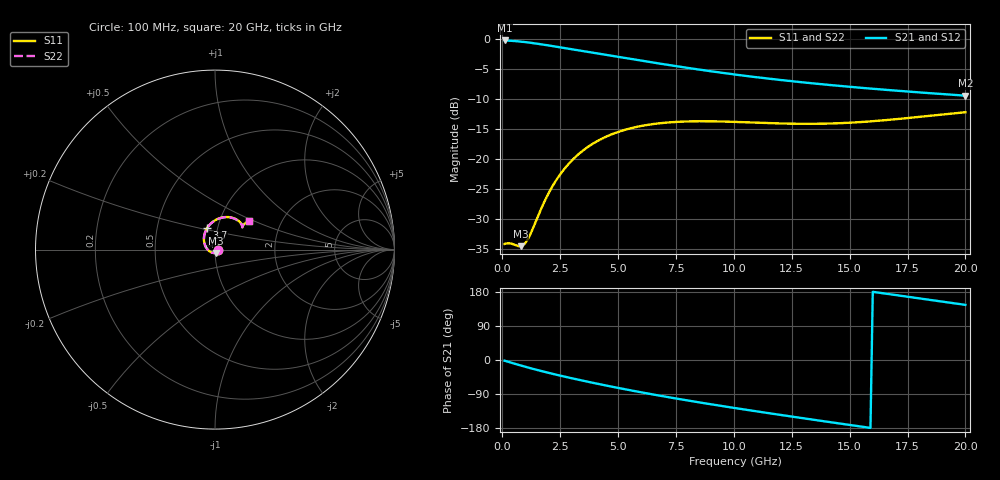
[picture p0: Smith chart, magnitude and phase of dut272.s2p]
! Touchstone file exported from HFSS 2024.1.0
!  File:  C:/UserFiles/LocalFiles/RDL_TSV_Batchsim/temp_RDL_TSV_272_1779462555.aedt
!  Generated:  11:22:33 PM May 22, 2026
!  Design:  RDL_TSV
!  Project:  temp_RDL_TSV_272_1779462555
!  Setup:  Setup1
!  Solution:  Sweep
! Variables:
!  dtsv = 11.27um
!  hbump = 3um
!  htsv = 87.02um
!  ldown = 644.95um
!  lrdl = 245.54um
!  p = 40
!  p1 = 40.53um
!  rhole = 10um
!  subl = 2917.01um
!  t = 450um
!  tdown = 2.04um
!  trdl = 4.94um
!  viad = 10um
!  wdown = 21.36um
!  wrdl = 19.81um
!  xbump = 18um
# GHz S MA R 50.000000
! Terminal data exported
! Port[1] = TM1_1_T1
! Port[2] = TM1_4_T1
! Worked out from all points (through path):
!   200 points, 100 MHz to 20 GHz, reference 50 ohm
!   highest |S21| = -0.18 dB at 100 MHz (marker M1); lowest = -9.4 dB at 20 GHz (marker M2)
!   group delay of S21, straight-line fit = 28.2 ps
!   lowest |S11| = -34.6 dB at 800 MHz (marker M3), VSWR 1.04, Z = 50.3 - j1.86 ohm
!   |S11| at or under -10 dB: start of sweep to end of sweep
!   |S22| runs from -34.5 to -12.2 dB; largest |S21 - S12| = 3.8e-14
!   S11 on the Smith chart (normalised r, x): 100 MHz: 1.04, -0.00; 3.7 GHz: 0.89, +0.21; 20 GHz: 1.38, +0.46
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0.1  0.01955 -6.8  0.9799 -1.9  0.9799 -1.9  0.01955 -6.8
! Gamma 0 0 0 0
! Port Impedance 50 0 50 0
0.3  0.01981 -23.4  0.9762 -5.6  0.9762 -5.6  0.01982 -23.4
0.8  0.01873 -80.5  0.9584 -14.5  0.9584 -14.5  0.01875 -80.4
0.9  0.0191 -94.0  0.9538 -16.3  0.9538 -16.3  0.01912 -93.9
1.1  0.02136 -120.6  0.9437 -19.7  0.9437 -19.7  0.02136 -120.5
1.8  0.04332 176.6  0.9026 -30.9  0.9026 -30.9  0.04321 176.7
2.3  0.06534 152.1  0.8712 -38.4  0.8712 -38.4  0.06513 152.2
2.9  0.09276 131.4  0.8339 -46.8  0.8339 -46.8  0.09243 131.4
3.5  0.1185 115.5  0.7981 -54.9  0.7981 -54.9  0.1181 115.5
3.7  0.1265 110.9  0.7864 -57.5  0.7864 -57.5  0.126 110.9
4.4  0.1512 96.9  0.7471 -66.4  0.7471 -66.4  0.1506 96.8
5.1  0.171 85.3  0.7098 -74.9  0.7098 -74.9  0.1702 85.3
5.9  0.1875 74.4  0.6696 -84.2  0.6696 -84.2  0.1866 74.4
6.8  0.1993 64.5  0.6279 -94.1  0.6279 -94.1  0.1983 64.4
8.4  0.207 51.6  0.5632 -110.8  0.5632 -110.8  0.2059 51.6
10.1  0.2044 43.3  0.5074 -127.3  0.5074 -127.3  0.2032 43.4
11.7  0.1993 39.8  0.4654 -142.1  0.4654 -142.1  0.1981 39.9
13.4  0.1971 39.2  0.4295 -157.3  0.4295 -157.3  0.196 39.4
15  0.2013 40.2  0.4018 -171.4  0.4018 -171.4  0.2003 40.5
16.7  0.2128 41.2  0.3772 173.8  0.3772 173.8  0.2121 41.5
18.4  0.2293 41.0  0.3561 159.2  0.3561 159.2  0.2288 41.3
20  0.2464 39.6  0.3388 145.5  0.3388 145.5  0.246 39.8
